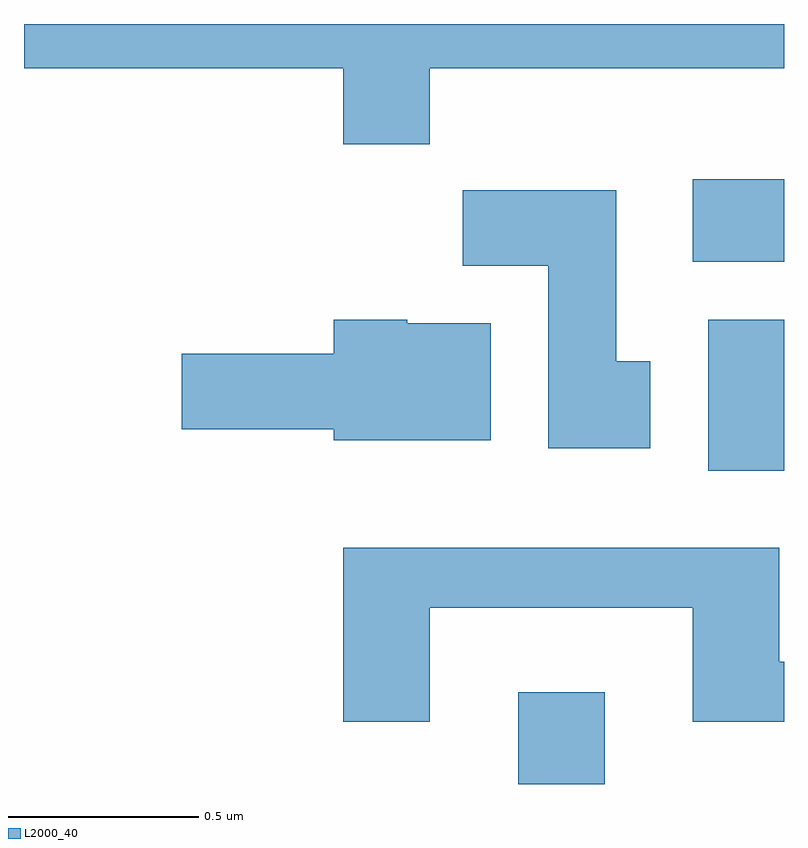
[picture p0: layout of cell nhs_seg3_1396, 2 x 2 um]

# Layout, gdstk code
import gdstk
lib = gdstk.Library(unit=1e-6, precision=1e-09)
def R(c, l, rs):  # rectangles x0, y0, x1, y1
    for r in rs: c.add(gdstk.rectangle(r[:2], r[2:], *l))
def P(c, l, *ps):  # polygons
    for p in ps: c.add(gdstk.Polygon(p, *l))
L2000_40 = (2000, 40)

nhs_seg3_1396 = lib.new_cell('nhs_seg3_1396')
R(nhs_seg3_1396, L2000_40, [(196.911,1141.892,197.139,1142.134), (197.411,1142.716,197.611,1143.114), (197.371,1143.266,197.611,1143.484)])
P(nhs_seg3_1396, L2000_40, [(196.679,1143.776),(197.611,1143.776),(197.611,1143.892),(195.611,1143.892),(195.611,1143.776),(196.451,1143.776),(196.451,1143.576),(196.679,1143.576)],
  [(197.259,1143.004),(197.169,1143.004),(197.169,1143.454),(196.766,1143.454),(196.766,1143.256),(196.991,1143.256),(196.991,1142.776),(197.259,1142.776)],
  [(196.839,1143.104),(196.62,1143.104),(196.62,1143.114),(196.426,1143.114),(196.426,1143.024),(196.026,1143.024),(196.026,1142.826),(196.426,1142.826),(196.426,1142.796),(196.839,1142.796)],
  [(196.679,1142.356),(197.371,1142.356),(197.371,1142.056),(197.611,1142.056),(197.611,1142.214),(197.599,1142.214),(197.599,1142.514),(196.451,1142.514),(196.451,1142.056),(196.679,1142.056)])

lib.write_gds('nhs_seg3_1396.gds')
